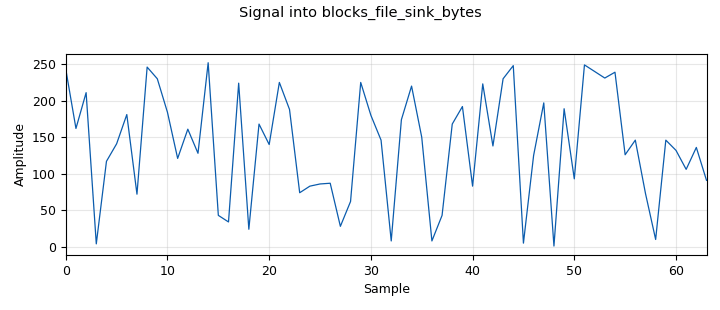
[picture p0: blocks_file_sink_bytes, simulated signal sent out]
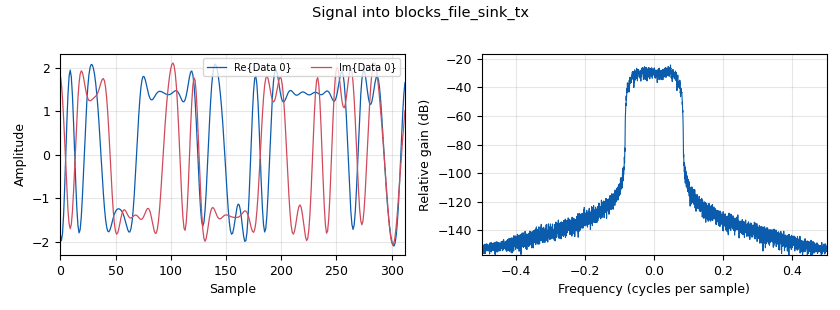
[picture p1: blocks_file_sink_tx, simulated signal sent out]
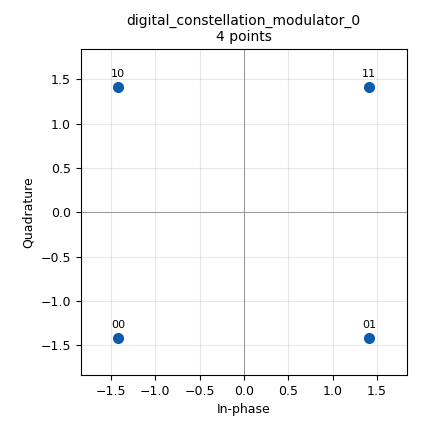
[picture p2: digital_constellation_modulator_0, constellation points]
options:
  parameters:
    author: Comunicaciones II 2026 - Proyecto 1
    comment: |-
      Validacion cruzada (seccion 11 de la guia).
      GNU Radio actua como TRANSMISOR + CANAL: genera QPSK con conformacion RRC,
      la pasa por un canal multitrayectoria + AWGN y escribe tres ficheros que
      el script experiments/exp6_validacion_grc.py analiza en Python.
    description: QPSK + RRC + canal multitrayectoria, volcado a fichero
    generate_options: no_gui
    id: tx_qpsk_canal
    output_language: python
    run_options: run
    title: TX QPSK + canal (Comunicaciones II)
  states: {}

blocks:
- name: samp_rate
  id: variable
  parameters:
    comment: Frecuencia de muestreo del simulador [Hz]
    value: '1000000'
  states: {}
- name: sps
  id: variable
  parameters:
    comment: Muestras por simbolo
    value: '8'
  states: {}
- name: excess_bw
  id: variable
  parameters:
    comment: Roll-off del RRC
    value: '0.35'
  states: {}
- name: n_sym
  id: variable
  parameters:
    comment: Simbolos QPSK a generar
    value: '20000'
  states: {}
- name: noise_volt
  id: variable
  parameters:
    comment: |-
      Tension de ruido del canal.
      El script de analisis ESTIMA la SNR
      realmente presente en el fichero, asi que
      no hace falta calibrarla a mano: basta
      con barrer este valor.
    value: '0.10'
  states: {}
- name: freq_off
  id: variable
  parameters:
    comment: Offset de frecuencia normalizado (ciclos/muestra)
    value: '0.0'
  states: {}
- name: ch_taps
  id: variable
  parameters:
    comment: |-
      Perfil multitrayectoria a TASA DE MUESTREO.
      Debe coincidir con el que genera
      comm2.channel.PROFILES['moderate'].taps(sps).
      exp6_validacion_grc.py los imprime listos
      para pegar aqui.
    value: '[1.0+0.0j]'
  states: {}
- name: qpsk_const
  id: variable_constellation
  parameters:
    precision: '8'
    type: qpsk
  states: {}
- name: analog_random_source_x_0
  id: analog_random_source_x
  parameters:
    comment: |-
      Fuente de datos.
      Cada byte da 4 simbolos QPSK.
    max: '256'
    min: '0'
    num_samps: int(n_sym/4)
    repeat: 'False'
    type: byte
  states: {}
- name: blocks_file_sink_bytes
  id: blocks_file_sink
  parameters:
    comment: |-
      Bytes transmitidos: los necesita el
      script de Python para calcular la BER.
    file: io/grc_tx_bytes.bin
    type: byte
  states: {}
- name: digital_constellation_modulator_0
  id: digital_constellation_modulator
  parameters:
    comment: |-
      Mapeo QPSK Gray + conformacion RRC.
      Equivale a comm2.modulation +
      comm2.pulse.pulse_shape.
    constellation: qpsk_const
    differential: 'False'
    excess_bw: excess_bw
    samples_per_symbol: sps
  states: {}
- name: blocks_file_sink_tx
  id: blocks_file_sink
  parameters:
    comment: |-
      Senal transmitida limpia (complex64).
      Se compara su PSD con la de Python.
    file: io/grc_tx_signal.cf32
    type: complex
  states: {}
- name: channels_channel_model_0
  id: channels_channel_model
  parameters:
    comment: |-
      Canal: AWGN + multitrayectoria + offset
      de frecuencia + error de reloj (epsilon).
    epsilon: '1.0'
    freq_offset: freq_off
    noise_voltage: noise_volt
    seed: '2026'
    taps: ch_taps
  states: {}
- name: blocks_file_sink_rx
  id: blocks_file_sink
  parameters:
    comment: |-
      Senal recibida tras el canal (complex64).
      Entrada del analisis en Python.
    file: io/grc_rx_signal.cf32
    type: complex
  states: {}

connections:
- [analog_random_source_x_0, '0', digital_constellation_modulator_0, '0']
- [analog_random_source_x_0, '0', blocks_file_sink_bytes, '0']
- [digital_constellation_modulator_0, '0', channels_channel_model_0, '0']
- [digital_constellation_modulator_0, '0', blocks_file_sink_tx, '0']
- [channels_channel_model_0, '0', blocks_file_sink_rx, '0']

metadata:
  file_format: 1
  grc_version: 3.10.12.0
